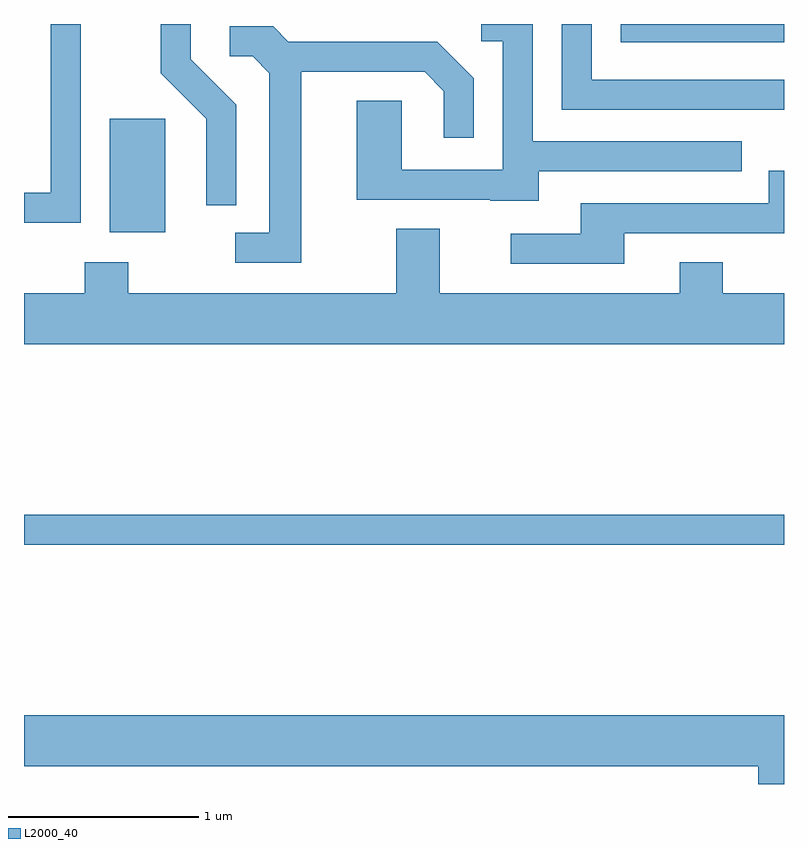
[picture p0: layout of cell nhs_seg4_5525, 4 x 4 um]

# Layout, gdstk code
import gdstk
lib = gdstk.Library(unit=1e-6, precision=1e-09)
def R(c, l, rs):  # rectangles x0, y0, x1, y1
    for r in rs: c.add(gdstk.rectangle(r[:2], r[2:], *l))
def P(c, l, *ps):  # polygons
    for p in ps: c.add(gdstk.Polygon(p, *l))
L2000_40 = (2000, 40)

nhs_seg4_5525 = lib.new_cell('nhs_seg4_5525')
R(nhs_seg4_5525, L2000_40, [(347.611,1289.241,351.611,1289.399), (348.061,1290.886,348.354,1291.484), (350.751,1291.886,351.611,1291.982)])
P(nhs_seg4_5525, L2000_40, [(347.909,1291.982),(347.751,1291.982),(347.751,1291.094),(347.611,1291.094),(347.611,1290.936),(347.909,1290.936)],
  [(348.729,1291.557),(348.489,1291.797),(348.489,1291.982),(348.331,1291.982),(348.331,1291.724),(348.571,1291.484),(348.571,1291.028),(348.729,1291.028)],
  [(351.611,1291.689),(350.599,1291.689),(350.599,1291.982),(350.441,1291.982),(350.441,1291.531),(351.611,1291.531)],
  [(350.319,1291.206),(351.388,1291.206),(351.388,1291.364),(350.289,1291.364),(350.289,1291.982),(350.018,1291.982),(350.018,1291.891),(350.131,1291.891),(350.131,1291.214),(349.599,1291.214),(349.599,1291.579),(349.361,1291.579),(349.361,1291.056),(350.065,1291.056),(350.065,1291.051),(350.319,1291.051)],
  [(349.069,1291.731),(349.719,1291.731),(349.821,1291.629),(349.821,1291.383),(349.979,1291.383),(349.979,1291.697),(349.787,1291.889),(349.002,1291.889),(348.922,1291.969),(348.693,1291.969),(348.693,1291.811),(348.814,1291.811),(348.901,1291.724),(348.901,1290.884),(348.723,1290.884),(348.723,1290.726),(349.069,1290.726)],
  [(350.769,1290.881),(351.611,1290.881),(351.611,1291.209),(351.531,1291.209),(351.531,1291.039),(350.541,1291.039),(350.541,1290.879),(350.173,1290.879),(350.173,1290.721),(350.769,1290.721)],
  [(351.611,1290.564),(351.289,1290.564),(351.289,1290.729),(351.061,1290.729),(351.061,1290.564),(349.799,1290.564),(349.799,1290.904),(349.571,1290.904),(349.571,1290.564),(348.159,1290.564),(348.159,1290.729),(347.931,1290.729),(347.931,1290.564),(347.611,1290.564),(347.611,1290.296),(351.611,1290.296)],
  [(351.611,1288.344),(347.611,1288.344),(347.611,1288.076),(351.476,1288.076),(351.476,1287.982),(351.611,1287.982)])

lib.write_gds('nhs_seg4_5525.gds')
